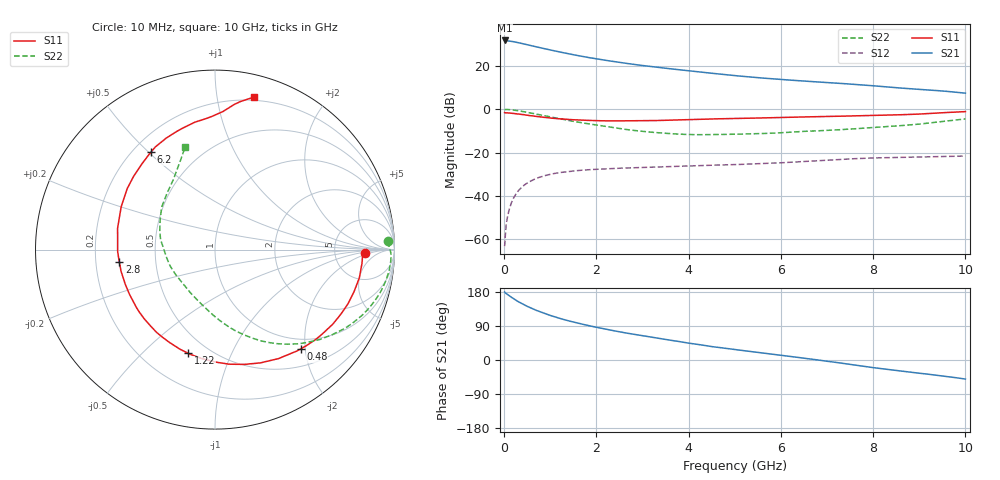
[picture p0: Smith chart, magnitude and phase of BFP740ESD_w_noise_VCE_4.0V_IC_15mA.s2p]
! Infineon Technologies  Discrete & RF Semiconductors
! BFP740ESD
! VCE =  4.0 V,  IC =  15 mA
! Common Emitter S-Parameters:  Jan 2016
# GHz  S  MA  R  50
!  f  S11  S21  S12  S22
! GHz  MAG  ANG  MAG  ANG  MAG  ANG  MAG  ANG
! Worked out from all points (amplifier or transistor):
!   233 points, 10 MHz to 10 GHz, reference 50 ohm
!   highest |S21| = 31.6 dB at 10 MHz (marker M1)
!   |S21| within 3 dB of that: start of sweep to 711.9 MHz
!   unconditionally stable (mu >= 1): start of sweep to 12.91 MHz; 4.794 GHz to 7.83 GHz; 8.159 GHz to 8.678 GHz
!   at 200 MHz: K = 0.17, MSG = 36.1 dB, |S12| = -41.1 dB
!   at 1.74 GHz: K = 0.51, MSG = 26.1 dB, |S12| = -28.0 dB
!   at 10 GHz: K = 0.72, MSG = 14.5 dB, |S12| = -21.6 dB
!   lowest NFmin = 0.69 dB at 450 MHz
!   S11 on the Smith chart (normalised r, x): 10 MHz: 11, -1; 480 MHz: 0.81, -1.91; 1.22 GHz: 0.39, -0.70; 2.8 GHz: 0.30, -0.06; 6.2 GHz: 0.27, +0.51; 10 GHz: 0.17, +1.27
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0.01  0.8345 -1.3  38.16 179.3  0.0007 26.2  0.9636 2.7
0.02  0.8231 -2.3  37.57 177.5  0.001 55.8  0.9799 -1.1
0.1  0.8195 -11.1  37.07 170.7  0.0044 76.5  0.9773 -7.0
0.15  0.8094 -16.8  36.48 166.2  0.0067 76.4  0.9672 -10.5
0.24  0.7903 -26.2  35 158.9  0.0105 73.4  0.9414 -16.5
0.34  0.7654 -36.3  33.31 151.7  0.0144 68.9  0.9067 -22.6
0.48  0.7306 -49.2  30.78 142.8  0.0193 63.0  0.8533 -30.2
0.6  0.7027 -59.8  28.74 135.9  0.0228 58.3  0.806 -36.1
0.8  0.6601 -75.7  25.68 126.2  0.0278 51.7  0.7318 -44.9
1  0.6254 -90.3  23.05 117.6  0.0316 45.9  0.6624 -52.7
1.22  0.5967 -104.5  20.56 109.3  0.0348 40.8  0.5955 -60.2
1.4  0.5781 -115.1  18.76 103.2  0.0368 37.4  0.5473 -65.7
1.68  0.558 -129.2  16.5 94.9  0.0392 33.1  0.4861 -73.2
2.2  0.5385 -151.5  13.31 81.3  0.0424 27.4  0.3986 -85.7
2.8  0.5379 -172.8  10.77 68.0  0.0447 23.3  0.3246 -100.7
3.4  0.5506 170.3  8.994 56.2  0.0468 20.8  0.2828 -116.0
4.5  0.5954 145.3  6.708 35.4  0.0511 17.1  0.2598 -148.4
5.1  0.6127 136.6  5.786 26.0  0.0533 16.2  0.2668 -162.0
6.2  0.6494 123.4  4.662 9.5  0.0599 14.3  0.294 175.0
6.8  0.6708 116.1  4.225 0.1  0.0651 12.0  0.317 164.7
8.4  0.7327 93.6  3.179 -26.1  0.0766 0.5  0.403 133.0
10  0.877 75.7  2.334 -50.3  0.0832 -10.4  0.5959 106.2
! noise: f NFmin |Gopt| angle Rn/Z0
0.45  0.69  0.08  1  0.11
0.9  0.73  0.08  8  0.09
1.9  0.75  0.05  2  0.09
2.4  0.79  0.03  -61  0.11
5.5  0.95  0.27  -127  0.12
10  1.6  0.56  -87  0.52
